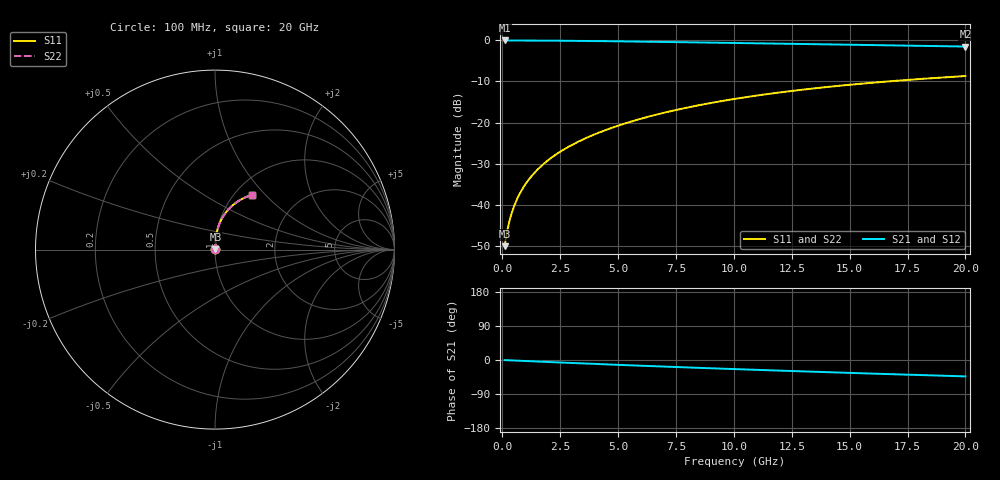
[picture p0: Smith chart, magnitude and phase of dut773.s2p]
! Touchstone file exported from HFSS 2024.1.0
!  File:  C:/UserFiles/LocalFiles/RDL_TSV_Batchsim/temp_RDL_top_773_1779852670.aedt
!  Generated:  11:33:21 AM May 27, 2026
!  Design:  RDL_top
!  Project:  temp_RDL_top_773_1779852670
!  Setup:  Setup1
!  Solution:  Sweep
! Variables:
!  dtsv = 10.80580581um
!  hbump = 3um
!  htsv = 72.25um
!  ldown = 100um
!  lrdl = 623.33um
!  p = 40
!  p1 = 52.08um
!  rhole = 1um
!  t = 450um
!  tdown = 3.915915916um
!  trdl = 4.14um
!  wdown = 15.38538539um
!  wrdl = 23.49um
# GHz S MA R 50.000000
! Terminal data exported
! Port[1] = Box2_T1
! Port[2] = Box2_T2
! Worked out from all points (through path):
!   200 points, 100 MHz to 20 GHz, reference 50 ohm
!   highest |S21| = -0.02 dB at 100 MHz (marker M1); lowest = -1.5 dB at 20 GHz (marker M2)
!   group delay of S21, straight-line fit = 5.95 ps
!   lowest |S11| = -50.1 dB at 100 MHz (marker M3), VSWR 1.01, Z = 50.2 + j0.195 ohm
!   |S11| at or under -10 dB: start of sweep to 16.63 GHz
!   |S22| runs from -50.1 to -8.7 dB; largest |S21 - S12| = 3.1e-15
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0.1  0.003137 38.3  0.9975 -0.3  0.9975 -0.3  0.003137 38.3
! Gamma 0 0 0 0
! Port Impedance 50 0 50 0
0.2  0.004607 55.4  0.9973 -0.6  0.9973 -0.6  0.004608 55.4
0.3  0.006204 63.6  0.9971 -0.8  0.9971 -0.8  0.006204 63.6
0.4  0.00782 68.4  0.9969 -1.1  0.9969 -1.1  0.00782 68.4
0.5  0.009449 71.7  0.9968 -1.4  0.9968 -1.4  0.009449 71.7
0.6  0.01109 74.2  0.9966 -1.6  0.9966 -1.6  0.01109 74.2
0.8  0.01442 77.5  0.9962 -2.1  0.9962 -2.1  0.01442 77.5
1.1  0.01951 80.5  0.9955 -2.9  0.9955 -2.9  0.01951 80.5
1.5  0.02642 82.7  0.9944 -4.0  0.9944 -4.0  0.02642 82.7
1.8  0.03168 83.6  0.9933 -4.8  0.9933 -4.8  0.03168 83.6
2.1  0.037 84.3  0.9921 -5.6  0.9921 -5.6  0.037 84.3
2.7  0.04783 85.0  0.9891 -7.1  0.9891 -7.1  0.04782 85.0
3.5  0.06266 85.1  0.9844 -9.1  0.9844 -9.1  0.06266 85.1
4.2  0.07601 84.9  0.9796 -10.9  0.9796 -10.9  0.076 84.9
5  0.09164 84.2  0.9736 -12.8  0.9736 -12.8  0.09164 84.2
6.8  0.1279 81.8  0.9586 -17.0  0.9586 -17.0  0.1279 81.8
8.4  0.1607 79.0  0.9446 -20.6  0.9446 -20.6  0.1607 79.0
10.1  0.1953 75.7  0.9294 -24.2  0.9294 -24.2  0.1953 75.7
11.7  0.2271 72.4  0.915 -27.5  0.915 -27.5  0.227 72.4
13.4  0.2594 68.9  0.8997 -30.9  0.8997 -30.9  0.2594 68.9
16.7  0.3174 62.2  0.8701 -37.2  0.8701 -37.2  0.3173 62.2
20  0.3681 55.9  0.8411 -43.3  0.8411 -43.3  0.3681 55.9
